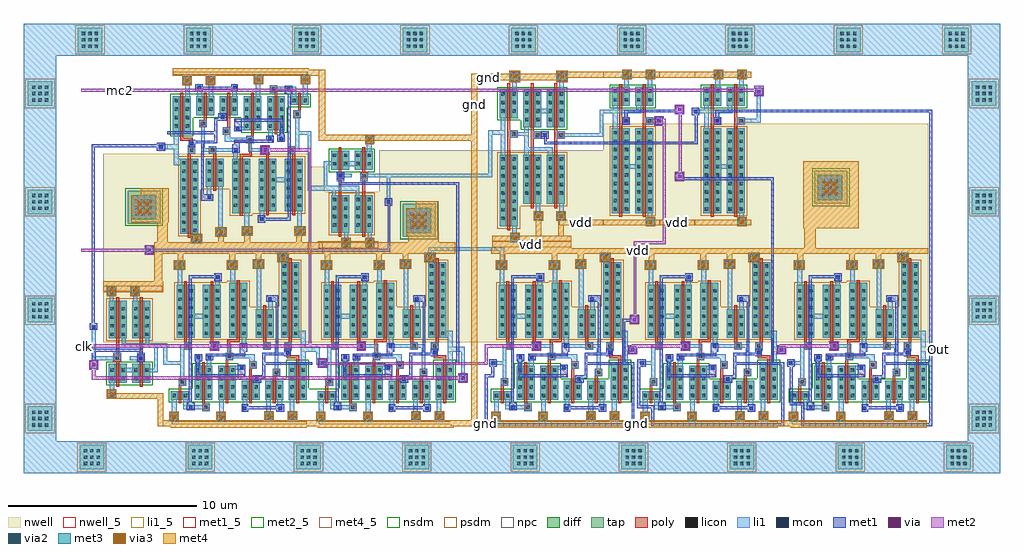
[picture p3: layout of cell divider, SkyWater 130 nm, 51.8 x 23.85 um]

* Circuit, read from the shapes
.subckt divider Out clk gnd mc2 vdd
XM1 prescaler_3/nand_3/z1 prescaler_3/nand_3/A gnd VSUBS sky130_fd_pr__nfet_01v8 w=1 l=0.15
XM2 prescaler_3/tspc_0/D prescaler_3/tspc_1/Q prescaler_3/nand_3/z1 VSUBS sky130_fd_pr__nfet_01v8 w=1 l=0.15
XM3 prescaler_3/tspc_0/Z2 prescaler_3/tspc_0/D gnd VSUBS sky130_fd_pr__nfet_01v8 w=0.45 l=0.15
XM4 gnd n1 prescaler_3/nand_3/A VSUBS sky130_fd_pr__nfet_01v8 w=2 l=0.15
XM5 prescaler_3/tspc_0/Z3 prescaler_3/tspc_0/Z2 prescaler_3/tspc_0/Z4 VSUBS sky130_fd_pr__nfet_01v8 w=1.8 l=0.15
XM6 gnd prescaler_3/tspc_2/Z3 n2 VSUBS sky130_fd_pr__nfet_01v8 w=1 l=0.15
XM7 prescaler_3/tspc_0/Z4 clk gnd VSUBS sky130_fd_pr__nfet_01v8 w=1.8 l=0.15
XM8 n2 clk n1 VSUBS sky130_fd_pr__nfet_01v8 w=1 l=0.15
XM9 n3 clk n4 VSUBS sky130_fd_pr__nfet_01v8 w=1 l=0.15
XM10 gnd clk prescaler_3/tspc_2/Z4 VSUBS sky130_fd_pr__nfet_01v8 w=1.8 l=0.15
XM11 n4 prescaler_3/tspc_0/Z3 gnd VSUBS sky130_fd_pr__nfet_01v8 w=1 l=0.15
XM12 prescaler_3/tspc_2/Z4 prescaler_3/tspc_2/Z2 prescaler_3/tspc_2/Z3 VSUBS sky130_fd_pr__nfet_01v8 w=1.8 l=0.15
XM13 prescaler_3/Out n3 gnd VSUBS sky130_fd_pr__nfet_01v8 w=2 l=0.15
XM14 gnd prescaler_3/tspc_2/D prescaler_3/tspc_2/Z2 VSUBS sky130_fd_pr__nfet_01v8 w=0.45 l=0.15
XM15 prescaler_3/tspc_1/Z2 prescaler_3/Out gnd VSUBS sky130_fd_pr__nfet_01v8 w=0.45 l=0.15
XM16 prescaler_3/nand_4/z1 n5 prescaler_3/tspc_2/D VSUBS sky130_fd_pr__nfet_01v8 w=1 l=0.15
XM17 prescaler_3/tspc_1/Z3 prescaler_3/tspc_1/Z2 prescaler_3/tspc_1/Z4 VSUBS sky130_fd_pr__nfet_01v8 w=1.8 l=0.15
XM18 gnd and_4/OUT prescaler_3/nand_4/z1 VSUBS sky130_fd_pr__nfet_01v8 w=1 l=0.15
XM19 prescaler_3/tspc_1/Z4 clk gnd VSUBS sky130_fd_pr__nfet_01v8 w=1.8 l=0.15
XM20 n5 clk n6 VSUBS sky130_fd_pr__nfet_01v8 w=1 l=0.15
XM21 n6 prescaler_3/tspc_1/Z3 gnd VSUBS sky130_fd_pr__nfet_01v8 w=1 l=0.15
XM22 prescaler_3/tspc_1/Q n5 gnd VSUBS sky130_fd_pr__nfet_01v8 w=2 l=0.15
XM23 tspc_2/Z2 nor_5/A gnd VSUBS sky130_fd_pr__nfet_01v8 w=0.45 l=0.15
XM24 gnd and_4/out1 and_4/OUT VSUBS sky130_fd_pr__nfet_01v8 w=1.5 l=0.15
XM25 tspc_2/Z3 tspc_2/Z2 tspc_2/Z4 VSUBS sky130_fd_pr__nfet_01v8 w=1.8 l=0.15
XM26 and_4/Z1 and_4/B and_4/out1 VSUBS sky130_fd_pr__nfet_01v8 w=2 l=0.15
XM27 tspc_2/Z4 prescaler_3/Out gnd VSUBS sky130_fd_pr__nfet_01v8 w=1.8 l=0.15
XM28 gnd and_4/A and_4/Z1 VSUBS sky130_fd_pr__nfet_01v8 w=2 l=0.15
XM29 nor_5/A prescaler_3/Out n7 VSUBS sky130_fd_pr__nfet_01v8 w=1 l=0.15
XM30 n7 tspc_2/Z3 gnd VSUBS sky130_fd_pr__nfet_01v8 w=1 l=0.15
XM31 tspc_2/Q nor_5/A gnd VSUBS sky130_fd_pr__nfet_01v8 w=2 l=0.15
XM32 gnd nor_5/B and_4/A VSUBS sky130_fd_pr__nfet_01v8 w=1 l=0.15
XM33 gnd nor_5/A and_4/A VSUBS sky130_fd_pr__nfet_01v8 w=1 l=0.15
XM34 tspc_1/Z2 nor_5/B gnd VSUBS sky130_fd_pr__nfet_01v8 w=0.45 l=0.15
XM35 tspc_1/Z3 tspc_1/Z2 tspc_1/Z4 VSUBS sky130_fd_pr__nfet_01v8 w=1.8 l=0.15
XM36 tspc_1/Z4 tspc_2/Q gnd VSUBS sky130_fd_pr__nfet_01v8 w=1.8 l=0.15
XM37 gnd nor_6/B and_4/B VSUBS sky130_fd_pr__nfet_01v8 w=1 l=0.15
XM38 nor_5/B tspc_2/Q n8 VSUBS sky130_fd_pr__nfet_01v8 w=1 l=0.15
XM39 gnd mc2 and_4/B VSUBS sky130_fd_pr__nfet_01v8 w=1 l=0.15
XM40 n8 tspc_1/Z3 gnd VSUBS sky130_fd_pr__nfet_01v8 w=1 l=0.15
XM41 tspc_1/Q nor_5/B gnd VSUBS sky130_fd_pr__nfet_01v8 w=2 l=0.15
XM42 tspc_0/Z2 nor_6/B gnd VSUBS sky130_fd_pr__nfet_01v8 w=0.45 l=0.15
XM43 tspc_0/Z3 tspc_0/Z2 tspc_0/Z4 VSUBS sky130_fd_pr__nfet_01v8 w=1.8 l=0.15
XM44 tspc_0/Z4 tspc_1/Q gnd VSUBS sky130_fd_pr__nfet_01v8 w=1.8 l=0.15
XM45 nor_6/B tspc_1/Q n9 VSUBS sky130_fd_pr__nfet_01v8 w=1 l=0.15
XM46 n9 tspc_0/Z3 gnd VSUBS sky130_fd_pr__nfet_01v8 w=1 l=0.15
XM47 Out nor_6/B gnd VSUBS sky130_fd_pr__nfet_01v8 w=2 l=0.15
XM48 prescaler_3/tspc_0/D prescaler_3/nand_3/A vdd vdd sky130_fd_pr__pfet_01v8 w=2 l=0.15
XM49 prescaler_3/tspc_0/D prescaler_3/tspc_1/Q vdd vdd sky130_fd_pr__pfet_01v8 w=2 l=0.15
XM50 prescaler_3/tspc_0/Z1 prescaler_3/tspc_0/D vdd vdd sky130_fd_pr__pfet_01v8 w=2.8 l=0.15
XM51 vdd n1 prescaler_3/nand_3/A vdd sky130_fd_pr__pfet_01v8 w=4 l=0.15
XM52 prescaler_3/tspc_0/Z2 clk prescaler_3/tspc_0/Z1 vdd sky130_fd_pr__pfet_01v8 w=2.8 l=0.15
XM53 vdd prescaler_3/tspc_2/Z3 n1 vdd sky130_fd_pr__pfet_01v8 w=1.5 l=0.15
XM54 prescaler_3/tspc_0/Z3 clk vdd vdd sky130_fd_pr__pfet_01v8 w=2.9 l=0.15
XM55 vdd clk prescaler_3/tspc_2/Z3 vdd sky130_fd_pr__pfet_01v8 w=2.9 l=0.15
XM56 n3 prescaler_3/tspc_0/Z3 vdd vdd sky130_fd_pr__pfet_01v8 w=1.5 l=0.15
XM57 prescaler_3/tspc_2/Z1 clk prescaler_3/tspc_2/Z2 vdd sky130_fd_pr__pfet_01v8 w=2.8 l=0.15
XM58 prescaler_3/Out n3 vdd vdd sky130_fd_pr__pfet_01v8 w=4 l=0.15
XM59 vdd prescaler_3/tspc_2/D prescaler_3/tspc_2/Z1 vdd sky130_fd_pr__pfet_01v8 w=2.8 l=0.15
XM60 prescaler_3/tspc_1/Z1 prescaler_3/Out vdd vdd sky130_fd_pr__pfet_01v8 w=2.8 l=0.15
XM61 vdd n5 prescaler_3/tspc_2/D vdd sky130_fd_pr__pfet_01v8 w=2 l=0.15
XM62 prescaler_3/tspc_1/Z2 clk prescaler_3/tspc_1/Z1 vdd sky130_fd_pr__pfet_01v8 w=2.8 l=0.15
XM63 vdd and_4/OUT prescaler_3/tspc_2/D vdd sky130_fd_pr__pfet_01v8 w=2 l=0.15
XM64 prescaler_3/tspc_1/Z3 clk vdd vdd sky130_fd_pr__pfet_01v8 w=2.9 l=0.15
XM65 n5 prescaler_3/tspc_1/Z3 vdd vdd sky130_fd_pr__pfet_01v8 w=1.5 l=0.15
XM66 prescaler_3/tspc_1/Q n5 vdd vdd sky130_fd_pr__pfet_01v8 w=4 l=0.15
XM67 tspc_2/Z1 nor_5/A vdd vdd sky130_fd_pr__pfet_01v8 w=2.8 l=0.15
XM68 vdd and_4/out1 and_4/OUT vdd sky130_fd_pr__pfet_01v8 w=3.8 l=0.15
XM69 vdd and_4/B and_4/out1 vdd sky130_fd_pr__pfet_01v8 w=2.6 l=0.15
XM70 tspc_2/Z2 prescaler_3/Out tspc_2/Z1 vdd sky130_fd_pr__pfet_01v8 w=2.8 l=0.15
XM71 vdd and_4/A and_4/out1 vdd sky130_fd_pr__pfet_01v8 w=2.6 l=0.15
XM72 tspc_2/Z3 prescaler_3/Out vdd vdd sky130_fd_pr__pfet_01v8 w=2.9 l=0.15
XM73 nor_5/A tspc_2/Z3 vdd vdd sky130_fd_pr__pfet_01v8 w=1.5 l=0.15
XM74 tspc_2/Q nor_5/A vdd vdd sky130_fd_pr__pfet_01v8 w=4 l=0.15
XM75 nor_5/Z1 nor_5/B and_4/A vdd sky130_fd_pr__pfet_01v8 w=4.5 l=0.15
XM76 vdd nor_5/A nor_5/Z1 vdd sky130_fd_pr__pfet_01v8 w=4.5 l=0.15
XM77 tspc_1/Z1 nor_5/B vdd vdd sky130_fd_pr__pfet_01v8 w=2.8 l=0.15
XM78 tspc_1/Z2 tspc_2/Q tspc_1/Z1 vdd sky130_fd_pr__pfet_01v8 w=2.8 l=0.15
XM79 tspc_1/Z3 tspc_2/Q vdd vdd sky130_fd_pr__pfet_01v8 w=2.9 l=0.15
XM80 nor_6/Z1 nor_6/B and_4/B vdd sky130_fd_pr__pfet_01v8 w=4.5 l=0.15
XM81 nor_5/B tspc_1/Z3 vdd vdd sky130_fd_pr__pfet_01v8 w=1.5 l=0.15
XM82 vdd mc2 nor_6/Z1 vdd sky130_fd_pr__pfet_01v8 w=4.5 l=0.15
XM83 tspc_1/Q nor_5/B vdd vdd sky130_fd_pr__pfet_01v8 w=4 l=0.15
XM84 tspc_0/Z1 nor_6/B vdd vdd sky130_fd_pr__pfet_01v8 w=2.8 l=0.15
XM85 tspc_0/Z2 tspc_1/Q tspc_0/Z1 vdd sky130_fd_pr__pfet_01v8 w=2.8 l=0.15
XM86 tspc_0/Z3 tspc_1/Q vdd vdd sky130_fd_pr__pfet_01v8 w=2.9 l=0.15
XM87 nor_6/B tspc_0/Z3 vdd vdd sky130_fd_pr__pfet_01v8 w=1.5 l=0.15
XM88 Out nor_6/B vdd vdd sky130_fd_pr__pfet_01v8 w=4 l=0.15
.ends

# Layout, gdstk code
from math import pi, radians
import gdstk
lib = gdstk.Library(unit=1e-6, precision=1e-09)
def R(c, l, rs):  # rectangles x0, y0, x1, y1
    for r in rs: c.add(gdstk.rectangle(r[:2], r[2:], *l))
def A(c, l, x, y, w, h, nx, ny, dx, dy):  # array of equal rectangles
    R(c, l, [(x+i*dx, y+j*dy, x+i*dx+w, y+j*dy+h) for i in range(nx) for j in range(ny)])
nwell_5 = (64, 5)
nwell = (64, 20)
diff = (65, 20)
tap = (65, 44)
poly = (66, 20)
licon = (66, 44)
li1_5 = (67, 5)
li1 = (67, 20)
mcon = (67, 44)
met1_5 = (68, 5)
met1 = (68, 20)
via = (68, 44)
met2_5 = (69, 5)
met2 = (69, 20)
via2 = (69, 44)
met3 = (70, 20)
via3 = (70, 44)
met4_5 = (71, 5)
met4 = (71, 20)
nsdm = (93, 44)
psdm = (94, 20)
npc = (95, 20)

tspc = lib.new_cell('tspc')
R(tspc, nwell, [(-0.7,-0.35,6.7,4.65)])
R(tspc, diff, [(-0.6,-3.4,0.35,-2.95), (0.65,-3.4,1.6,-1.6), (1.9,-3.4,2.85,-1.6), (3.15,-3.4,4.1,-2.4), (4.4,-3.4,5.35,-2.4), (5.65,-3.4,6.6,-1.4), (-0.3,-0.1,0.65,2.7), (1.1,-0.1,2.05,2.7), (2.5,-0.1,3.45,2.8), (3.9,-0.1,4.85,1.4), (5.25,-0.1,6.2,3.9)])
R(tspc, poly, [(1.05,-4,1.45,-3.6), (-0.2,-3.6,-0.05,-2.65), (1.05,-3.6,1.2,-1.4), (2.3,-3.6,2.45,-1.3), (3.55,-3.6,3.7,-1.75), (4.8,-3.6,4.95,-2.15), (6.05,-3.6,6.2,-1.2), (-0.2,-2.65,0.2,-2.25), (4.8,-2.15,5.2,-1.75), (3.55,-1.75,3.95,-1.35), (2.3,-1.3,2.7,-0.9), (5.55,-1.2,6.2,-1.05), (5.55,-1.05,5.7,-0.75), (2.4,-0.9,2.55,-0.35), (0.1,-0.75,0.5,-0.35), (1.5,-0.75,1.9,-0.35), (4.3,-0.75,4.7,-0.35), (5.4,-0.75,5.8,-0.35), (0.1,-0.35,0.25,2.9), (1.5,-0.35,1.65,2.9), (2.4,-0.35,3.05,-0.2), (4.3,-0.35,4.45,1.6), (5.65,-0.35,5.8,4.1), (2.9,-0.2,3.05,2.95)])
A(tspc, licon, 0.74, -3.26, 0.17, 0.17, 1, 4, 0, 0.45)
A(tspc, licon, 1.34, -3.26, 0.17, 0.17, 1, 4, 0, 0.45)
A(tspc, licon, 1.99, -3.26, 0.17, 0.17, 1, 4, 0, 0.45)
A(tspc, licon, 2.59, -3.26, 0.17, 0.17, 1, 4, 0, 0.45)
A(tspc, licon, 5.74, -3.26, 0.17, 0.17, 1, 4, 0, 0.45)
A(tspc, licon, 6.34, -3.26, 0.17, 0.17, 1, 4, 0, 0.45)
A(tspc, licon, -0.21, 0.04, 0.17, 0.17, 1, 6, 0, 0.45)
A(tspc, licon, 0.39, 0.04, 0.17, 0.17, 1, 6, 0, 0.45)
A(tspc, licon, 1.19, 0.04, 0.17, 0.17, 1, 6, 0, 0.45)
A(tspc, licon, 1.79, 0.04, 0.17, 0.17, 1, 6, 0, 0.45)
A(tspc, licon, 2.59, 0.04, 0.17, 0.17, 1, 6, 0, 0.45)
A(tspc, licon, 3.19, 0.04, 0.17, 0.17, 1, 6, 0, 0.45)
A(tspc, licon, 3.99, 0.04, 0.17, 0.17, 1, 3, 0, 0.45)
A(tspc, licon, 4.59, 0.04, 0.17, 0.17, 1, 3, 0, 0.45)
A(tspc, licon, 5.34, 0.04, 0.17, 0.17, 1, 8, 0, 0.45)
A(tspc, licon, 5.94, 0.04, 0.17, 0.17, 1, 8, 0, 0.45)
R(tspc, licon, [(1.165,-3.885,1.335,-3.715), (-0.51,-3.26,-0.34,-3.09), (0.09,-3.26,0.26,-3.09), (3.24,-3.26,3.41,-3.09), (3.84,-3.26,4.01,-3.09), (4.49,-3.26,4.66,-3.09), (5.09,-3.26,5.26,-3.09), (3.24,-2.81,3.41,-2.64), (3.84,-2.81,4.01,-2.64), (4.49,-2.81,4.66,-2.64), (5.09,-2.81,5.26,-2.64), (-0.085,-2.535,0.085,-2.365), (4.915,-2.035,5.085,-1.865), (3.665,-1.635,3.835,-1.465), (2.415,-1.185,2.585,-1.015), (0.215,-0.635,0.385,-0.465), (1.615,-0.635,1.785,-0.465), (4.415,-0.635,4.585,-0.465), (5.515,-0.635,5.685,-0.465), (5.34,3.615,5.51,3.785), (5.94,3.615,6.11,3.785)])
R(tspc, li1_5, [(0.05,-3.9,1.35,-3.7), (-0.1,-2.55,0.1,-0.45), (4.9,-2.05,5.1,-0.45), (6.3,-0.85,6.9,-0.6), (-0.1,-0.65,0.4,-0.45), (3.15,-0.65,5.1,-0.45), (0.65,0.9,1.1,1.15)])
R(tspc, li1, [(-0.55,-4.4,-0.3,-3.4), (1.95,-4.4,2.2,-3.4), (4.45,-4.4,4.7,-4.35), (5.7,-4.4,5.95,-4.35), (4.45,-4.35,4.75,-4), (5.7,-4.35,6,-4), (1.05,-4,1.45,-3.9), (4.45,-4,4.7,-3.4), (5.7,-4,5.95,-3.4), (3.2,-3.95,3.4,-3.75), (5.1,-3.95,5.3,-3.75), (0.05,-3.9,1.45,-3.7), (3.2,-3.75,3.45,-3.4), (5.05,-3.75,5.3,-3.4), (0.05,-3.7,0.3,-3.4), (1.05,-3.7,1.45,-3.6), (-0.6,-3.4,-0.25,-2.95), (0,-3.4,0.35,-2.95), (0.65,-3.4,1,-1.6), (1.25,-3.4,1.6,-1.6), (1.9,-3.4,2.25,-1.6), (2.5,-3.4,2.85,-1.8), (3.15,-3.4,3.5,-2.4), (3.75,-3.4,4.1,-2.4), (4.4,-3.4,4.75,-2.4), (5,-3.4,5.35,-2.4), (5.65,-3.4,6,-1.4), (6.25,-3.4,6.6,-1.4), (-0.2,-2.65,0.2,-2.25), (3.85,-2.4,4.05,-2.2), (-0.1,-2.25,0.1,-1.55), (4.8,-2.15,5.2,-1.75), (2.5,-1.8,3.25,-1.6), (3.55,-1.75,3.95,-1.35), (4.9,-1.75,5.1,-0.65), (0.7,-1.6,0.95,-1.25), (1.3,-1.6,1.55,-1.25), (-0.7,-1.55,0.1,-1.35), (6.3,-1.4,6.55,-0.85), (-0.1,-1.35,0.1,-0.75), (3.55,-1.35,3.85,-1.2), (2.3,-1.3,2.7,-1.2), (0.75,-1.25,0.95,-1.05), (1.35,-1.25,1.55,-1.05), (2.3,-1.2,3.85,-1), (2.3,-1,2.7,-0.9), (5.5,-1,5.7,-0.8), (2.4,-0.9,2.6,-0.65), (6.3,-0.85,6.9,-0.6), (5.5,-0.8,5.8,-0.75), (-0.1,-0.75,0.5,-0.45), (1.5,-0.75,1.9,-0.65), (4.3,-0.75,4.7,-0.65), (5.4,-0.75,5.8,-0.35), (1.5,-0.65,2.6,-0.45), (3.15,-0.65,5.1,-0.45), (6.3,-0.6,6.55,-0.1), (0.1,-0.45,0.5,-0.35), (1.5,-0.45,1.9,-0.35), (3.15,-0.45,3.4,-0.1), (4.3,-0.45,4.7,-0.35), (-0.3,-0.1,0.05,2.7), (0.3,-0.1,0.65,0.9), (1.1,-0.1,1.45,0.9), (1.7,-0.1,2.05,2.7), (2.5,-0.1,2.85,2.8), (3.1,-0.1,3.45,2.8), (3.9,-0.1,4.25,1.4), (4.5,-0.1,4.85,1.4), (5.25,-0.1,5.6,3.9), (5.85,-0.1,6.55,0.25), (5.85,0.25,6.2,3.9), (0.3,0.9,1.45,1.15), (0.3,1.15,0.65,2.7), (1.1,1.15,1.45,2.7), (3.95,1.4,4.2,3.65), (4.55,1.4,4.8,1.85), (4.55,1.85,4.75,2.05), (-0.25,2.7,0,3.6), (1.75,2.7,2,3.2), (2.55,2.8,2.8,3.6), (-0.25,3.6,-0.05,3.8), (2.55,3.6,2.75,3.8), (3.95,3.65,4.15,3.85), (5.25,3.9,5.5,4), (5.25,4,5.45,4.2)])
R(tspc, mcon, [(-0.535,-4.385,-0.365,-4.215), (1.965,-4.385,2.135,-4.215), (4.515,-4.335,4.685,-4.165), (5.765,-4.335,5.935,-4.165), (3.215,-3.935,3.385,-3.765), (5.115,-3.935,5.285,-3.765), (0.365,-3.885,0.535,-3.715), (3.865,-2.385,4.035,-2.215), (3.065,-1.785,3.235,-1.615), (0.765,-1.235,0.935,-1.065), (1.365,-1.235,1.535,-1.065), (5.515,-0.985,5.685,-0.815), (1.615,-0.635,1.785,-0.465), (3.165,-0.635,3.335,-0.465), (4.565,1.865,4.735,2.035), (1.815,3.015,1.985,3.185), (-0.235,3.615,-0.065,3.785), (2.565,3.615,2.735,3.785), (3.965,3.665,4.135,3.835), (5.265,4.015,5.435,4.185)])
R(tspc, met1_5, [(0.75,-2.2,3.3,-2.05), (1.3,-1.1,3.35,-0.95)])
R(tspc, met1, [(-0.65,-4.5,-0.25,-4.1), (1.85,-4.5,2.25,-4.1), (4.4,-4.45,4.8,-4.05), (5.65,-4.45,6.05,-4.05), (3.15,-4.05,3.5,-3.9), (5,-4.05,5.4,-3.9), (0.25,-3.95,0.65,-3.55), (3.15,-3.9,5.4,-3.75), (3.15,-3.75,3.5,-3.65), (5,-3.75,5.4,-3.65), (0.35,-3.55,0.5,3.05), (3.75,-2.5,4.2,-2.25), (3.75,-2.25,4.4,-2.1), (0.75,-2.2,3.35,-2.05), (4.25,-2.1,4.4,-1.55), (0.75,-2.05,0.9,-1.35), (2.95,-2.05,3.35,-1.55), (4.25,-1.55,6.9,-1.4), (4.25,-1.4,4.4,-1.05), (0.65,-1.35,1.05,-1), (1.25,-1.3,1.65,-1.1), (1.25,-1.1,3.35,-0.95), (5.4,-1.1,5.75,-1.05), (4.25,-1.05,5.75,-0.9), (3.05,-0.95,3.35,-0.85), (4.95,-0.9,5.1,1.8), (5.4,-0.9,5.75,-0.7), (3.05,-0.85,3.45,-0.4), (1.5,-0.75,1.9,-0.35), (4.45,1.8,5.1,2.15), (1.7,2.9,2.1,3.05), (0.35,3.05,2.1,3.2), (1.7,3.2,2.1,3.3), (-0.35,3.55,0.05,3.9), (2.45,3.55,2.85,3.9), (3.85,3.6,4.25,3.95), (5.15,3.95,5.55,4.3)])
R(tspc, via, [(-0.525,-4.375,-0.375,-4.225), (1.975,-4.375,2.125,-4.225), (4.525,-4.325,4.675,-4.175), (5.775,-4.325,5.925,-4.175), (1.625,-0.625,1.775,-0.475), (-0.225,3.675,-0.075,3.825), (2.575,3.675,2.725,3.825), (3.975,3.725,4.125,3.875), (5.275,4.075,5.425,4.225)])
R(tspc, met2, [(-0.65,-4.5,-0.25,-4.1), (1.85,-4.5,2.25,-4.1), (4.4,-4.45,4.8,-4.05), (5.65,-4.45,6.05,-4.05), (1.45,-0.8,1.95,-0.65), (-0.7,-0.65,1.95,-0.45), (1.45,-0.45,1.95,-0.3), (-0.4,3.55,0.1,3.95), (2.4,3.55,2.9,3.95), (3.8,3.6,4.3,4), (5.1,3.95,5.6,4.35)])
R(tspc, via2, [(-0.55,-4.4,-0.35,-4.2), (1.95,-4.4,2.15,-4.2), (4.5,-4.35,4.7,-4.15), (5.75,-4.35,5.95,-4.15), (-0.25,3.675,-0.05,3.875), (2.55,3.675,2.75,3.875), (3.95,3.725,4.15,3.925), (5.25,4.075,5.45,4.275)])
R(tspc, met3, [(-0.7,-4.55,-0.2,-4.05), (1.8,-4.55,2.3,-4.05), (4.35,-4.5,4.85,-4), (5.6,-4.5,6.1,-4), (-0.45,3.55,0.15,4), (2.35,3.55,2.95,4), (3.75,3.6,4.35,4.05), (5.05,3.95,5.65,4.4)])
R(tspc, via3, [(-0.55,-4.4,-0.35,-4.2), (1.95,-4.4,2.15,-4.2), (4.5,-4.35,4.7,-4.15), (5.75,-4.35,5.95,-4.15), (-0.25,3.65,-0.05,3.85), (2.55,3.65,2.75,3.85), (3.95,3.7,4.15,3.9), (5.25,4.05,5.45,4.25)])
R(tspc, met4_5, [(-0.55,-4.7,6.6,-4.55)])
R(tspc, met4, [(-0.6,-4.9,6.6,-4.55), (-0.7,-4.55,6.6,-4.5), (-0.7,-4.5,-0.2,-4.05), (1.8,-4.5,2.3,-4.05), (4.35,-4.5,4.85,-4), (5.6,-4.5,6.1,-4), (-0.45,3.5,0.15,4), (2.35,3.5,2.95,4), (3.75,3.55,4.35,4.05), (5.05,3.9,5.65,4.35), (-0.25,4,0.05,4.35), (2.5,4,2.8,4.35), (3.9,4.05,4.2,4.35), (-0.7,4.35,6.7,4.65)])
R(tspc, nsdm, [(-0.725,-3.525,6.725,-2.825), (0.525,-2.825,6.725,-2.275), (0.525,-2.275,2.975,-1.475), (5.525,-2.275,6.725,-1.275)])
R(tspc, psdm, [(-0.425,-0.225,6.325,1.525), (-0.425,1.525,3.575,2.825), (5.125,1.525,6.325,4.025), (2.375,2.825,3.575,2.925)])
R(tspc, npc, [(1.065,-3.985,1.435,-3.615), (-0.185,-2.635,0.185,-2.265), (4.815,-2.135,5.185,-1.765), (3.565,-1.735,3.935,-1.365), (2.315,-1.285,2.685,-0.915), (0.115,-0.735,0.485,-0.365), (1.515,-0.735,1.885,-0.365), (4.315,-0.735,4.685,-0.365), (5.415,-0.735,5.785,-0.365)])
tspc.add(gdstk.Label('D', (0,-1.5), layer=67, texttype=5))
tspc.add(gdstk.Label('D', (0.15,-0.55), layer=67, texttype=5))
tspc.add(gdstk.Label('Z1', (0.875,1.025), layer=67, texttype=5))
tspc.add(gdstk.Label('Z3', (2.325,-1.025), layer=68, texttype=5))
tspc.add(gdstk.Label('Z3', (5,-1.25), layer=67, texttype=5))
tspc.add(gdstk.Label('Z4', (2.025,-2.125), layer=68, texttype=5))
tspc.add(gdstk.Label('Q', (6.6,-0.725), layer=67, texttype=5))
tspc.add(gdstk.Label('Z3', (4.125,-0.55), layer=67, texttype=5))
tspc.add(gdstk.Label('Z2', (0.7,-3.8), layer=67, texttype=5))
tspc.add(gdstk.Label('GND', (3.025,-4.625), layer=71, texttype=5))
tspc.add(gdstk.Label('vdd!', (2.69,3.36), layer=67, texttype=5))
tspc.add(gdstk.Label('gnd!', (2.02,-3.79), layer=67, texttype=5))

nand = lib.new_cell('nand')
R(nand, nwell_5, [(-0.4,2.6,2.75,2.9)])
R(nand, nwell, [(-0.4,-0.1,2.8,3.15)])
R(nand, diff, [(-0.1,-2.25,0.85,-1.25), (1.15,-2.25,2.1,-1.25), (-0.1,0.1,0.85,2.1), (1.15,0.1,2.1,2.1)])
R(nand, poly, [(0.3,-2.45,0.45,-1.15), (1.55,-2.45,1.7,-1.15), (0.15,-1.15,0.55,-0.75), (1.4,-1.15,1.8,-0.75), (0.3,-0.75,0.45,2.3), (1.55,-0.75,1.7,2.3)])
A(nand, licon, -0.01, 0.24, 0.17, 0.17, 1, 4, 0, 0.45)
A(nand, licon, 0.59, 0.24, 0.17, 0.17, 1, 4, 0, 0.45)
A(nand, licon, 1.24, 0.24, 0.17, 0.17, 1, 4, 0, 0.45)
A(nand, licon, 1.84, 0.24, 0.17, 0.17, 1, 4, 0, 0.45)
R(nand, licon, [(-0.01,-2.11,0.16,-1.94), (0.59,-2.11,0.76,-1.94), (1.24,-2.11,1.41,-1.94), (1.84,-2.11,2.01,-1.94), (-0.01,-1.66,0.16,-1.49), (0.59,-1.66,0.76,-1.49), (1.24,-1.66,1.41,-1.49), (1.84,-1.66,2.01,-1.49), (0.265,-1.035,0.435,-0.865), (1.515,-1.035,1.685,-0.865)])
R(nand, li1_5, [(0.55,-1.7,1.45,-1.45), (-0.25,-1.05,0.45,-0.85), (0.6,-0.4,2.5,-0.15)])
R(nand, li1, [(-0.05,-2.95,0.2,-2.25), (-0.1,-2.25,0.25,-1.25), (0.5,-2.25,0.85,-1.7), (1.15,-2.25,1.5,-1.7), (1.75,-2.25,2.1,-1.7), (0.5,-1.7,1.5,-1.45), (1.75,-1.7,2.5,-1.5), (1.75,-1.5,2.1,-1.25), (2.3,-1.5,2.5,-0.4), (0.5,-1.45,0.85,-1.25), (1.15,-1.45,1.5,-1.25), (-0.25,-1.05,0.55,-0.85), (1,-1.05,1.8,-0.85), (0.15,-0.85,0.55,-0.65), (1.4,-0.85,1.8,-0.65), (0.6,-0.4,3,-0.15), (0.6,-0.15,0.8,0.1), (1.85,-0.15,2.05,0.1), (-0.1,0.1,0.25,2.1), (0.5,0.1,0.85,2.1), (1.15,0.1,1.5,2.1), (1.75,0.1,2.1,2.1), (-0.05,2.1,0.15,2.7), (1.2,2.1,1.4,2.7)])
R(nand, mcon, [(-0.035,-2.935,0.135,-2.765), (1.515,-1.035,1.685,-0.865), (-0.035,2.515,0.135,2.685), (1.215,2.515,1.385,2.685)])
R(nand, met1, [(-0.15,-3,0.25,-2.65), (1.4,-1.15,1.8,-0.75), (1.55,-0.75,1.7,-0.6), (-0.25,-0.6,1.7,-0.45), (-0.15,2.45,0.25,2.8), (1.1,2.45,1.5,2.8)])
R(nand, via, [(-0.025,-2.925,0.125,-2.775), (-0.025,2.525,0.125,2.675), (1.225,2.525,1.375,2.675)])
R(nand, met2, [(-0.15,-3.05,0.25,-2.65), (-0.15,2.4,0.25,2.8), (1.1,2.4,1.5,2.8)])
R(nand, via2, [(-0.05,-2.95,0.15,-2.75), (-0.05,2.5,0.15,2.7), (1.2,2.5,1.4,2.7)])
R(nand, met3, [(-0.2,-3.1,0.3,-2.6), (-0.2,2.35,0.3,2.85), (1.05,2.35,1.55,2.85)])
R(nand, via3, [(-0.05,-2.95,0.15,-2.75), (-0.025,2.525,0.175,2.725), (1.225,2.525,1.425,2.725)])
R(nand, met4_5, [(-0.2,-3.1,2.75,-2.8)])
R(nand, met4, [(-0.2,-3.1,2.75,-2.8), (-0.2,-2.8,0.3,-2.6), (-0.2,2.35,0.3,2.55), (1.05,2.35,1.55,2.55), (-0.4,2.55,2.8,3.15)])
R(nand, nsdm, [(-0.225,-2.375,2.225,-1.125)])
R(nand, psdm, [(-0.225,-0.025,2.225,2.225)])
R(nand, npc, [(0.165,-1.135,0.535,-0.765), (1.415,-1.135,1.785,-0.765)])
nand.add(gdstk.Label('OUT', (1.55,-0.275), layer=67, texttype=5))
nand.add(gdstk.Label('A', (0.1,-0.95), layer=67, texttype=5))
nand.add(gdstk.Label('VDD', (1.175,2.75), layer=64, texttype=5))
nand.add(gdstk.Label('GND', (1.275,-2.95), layer=71, texttype=5))
nand.add(gdstk.Label('z1', (1,-1.575), layer=67, texttype=5))
nand.add(gdstk.Label('vdd!', (1.3,2.22), layer=67, texttype=5))
nand.add(gdstk.Label('gnd!', (0.06,-2.51), layer=67, texttype=5))

prescaler = lib.new_cell('prescaler')
R(prescaler, nwell, [(2.08,2.6,3.53,2.65), (9.95,2.6,10.35,7.43), (1.95,2.65,3.53,2.71), (1.95,2.71,2.71,4.59), (1.95,4.59,2.77,5.27), (2.01,5.27,2.77,7.21), (9.95,7.43,10.73,7.6), (9.97,7.6,10.73,10.36), (9.65,10.36,10.82,10.61), (9.65,10.61,10.81,11.92)])
R(prescaler, li1, [(18.05,0.6,18.25,2.1), (2.25,1.4,2.55,1.6), (10.35,1.4,10.55,2.1), (10.6,1.4,10.8,1.6), (2.25,1.6,2.45,2.55), (-1.55,1.65,-0.8,1.85), (-1.55,1.85,-1.35,3.5), (10.15,2.1,10.55,2.35), (17.95,2.1,18.25,2.35), (14.1,9.95,14.3,11.35), (9.9,10.65,10.25,10.9), (9.9,10.9,10.1,13.8), (13.5,11.35,14.3,11.55), (2,12.85,2.45,13.1)])
R(prescaler, mcon, [(18.065,0.615,18.235,0.785), (10.615,1.415,10.785,1.585), (-1.535,3.315,-1.365,3.485), (14.115,9.965,14.285,10.135), (2.04,12.89,2.21,13.06)])
R(prescaler, met1_5, [(1.7,7.4,14.3,7.55), (14.15,7.4,14.3,10.15)])
R(prescaler, met1, [(17.95,0.5,18.35,0.9), (-1.65,1.2,-1.25,1.6), (10.5,1.3,10.9,1.7), (17.8,1.4,17.95,10.95), (-1.55,1.6,-1.35,2.1), (-1.55,2.1,-0.8,2.25), (-1.65,3.25,-1.25,3.6), (-1.55,3.6,-1.4,12.95), (1.3,7.3,1.7,7.4), (1.3,7.4,14.3,7.55), (1.3,7.55,1.7,7.7), (14.15,7.55,14.3,9.85), (1.4,7.7,1.6,7.75), (14,9.85,14.4,10.25), (13.5,10.95,17.95,11.1), (1.9,12.75,2.35,12.95), (-1.55,12.95,2.35,13.1), (1.9,13.1,2.35,13.2)])
R(prescaler, via, [(18.075,0.625,18.225,0.775), (-1.525,1.325,-1.375,1.475), (10.625,1.425,10.775,1.575), (1.425,7.425,1.575,7.575)])
R(prescaler, met2_5, [(10.55,1.4,19.3,1.55), (-2.1,2.3,2.55,2.5), (-2.1,7.4,1.7,7.55)])
R(prescaler, met2, [(17.9,0.45,18.4,0.6), (-1.55,0.6,18.4,0.8), (-1.55,0.8,-1.35,1.15), (17.9,0.8,18.4,0.95), (-1.7,1.15,-1.2,1.65), (10.45,1.25,10.95,1.4), (10.45,1.4,19.3,1.55), (10.45,1.55,10.95,1.75), (-2.1,2.3,2.55,2.5), (4.85,2.3,10.35,2.5), (9.95,2.5,10.1,12.9), (1.25,7.25,1.75,7.4), (-2.1,7.4,1.75,7.55), (1.25,7.55,1.75,7.75)])
R(prescaler, met4_5, [(1.95,-1.85,2.25,-0.4), (17.5,-1.85,18.6,-1.55), (18.6,-1.85,18.9,13.3), (2.2,-0.4,2.25,-0.1), (9.9,7.3,10.7,7.9), (13.45,13.3,18.9,13.6), (10.5,13.6,10.85,17.05)])
R(prescaler, met4, [(1.95,-1.85,2.7,-1.6), (9.85,-1.85,10.55,-1.55), (17.5,-1.85,18.9,-1.55), (1.95,-1.6,2.65,-1.55), (1.95,-1.55,2.25,-0.1), (18.6,-1.55,18.9,13.3), (1.75,5.3,2.2,7.3), (1.75,7.3,2.85,7.9), (9.9,7.3,10.75,7.9), (13.65,7.6,17.75,7.9), (10.5,13.3,10.85,16.75), (13,13.3,18.9,13.6), (9.65,16.75,10.85,17.05)])
R(prescaler, nsdm, [(9.975,-0.575,10.325,0.125)])
prescaler.add(gdstk.Reference(tspc, (3.25,2.95)))
prescaler.add(gdstk.Reference(tspc, (11.05,2.95)))
prescaler.add(gdstk.Reference(tspc, (9.35,12.25), rotation=pi))
prescaler.add(gdstk.Reference(nand, (-0.55,2.7)))
prescaler.add(gdstk.Reference(nand, (13.25,10.5), rotation=pi))
prescaler.add(gdstk.Label('mc1', (-0.2,7.475), layer=69, texttype=5))
prescaler.add(gdstk.Label('mc1', (8,7.475), layer=68, texttype=5))
prescaler.add(gdstk.Label('mc1', (14.225,8.775), layer=68, texttype=5))
prescaler.add(gdstk.Label('clk', (0.225,2.4), layer=69, texttype=5))
prescaler.add(gdstk.Label('Out', (14.925,1.475), layer=69, texttype=5))
prescaler.add(gdstk.Label('GND', (10.675,15.325), layer=71, texttype=5))
prescaler.add(gdstk.Label('GND', (16.175,13.45), layer=71, texttype=5))
prescaler.add(gdstk.Label('GND', (18.75,5.725), layer=71, texttype=5))
prescaler.add(gdstk.Label('GND', (18.05,-1.7), layer=71, texttype=5))
prescaler.add(gdstk.Label('GND', (2.1,-1.125), layer=71, texttype=5))
prescaler.add(gdstk.Label('GND', (2.225,-0.25), layer=71, texttype=5))
prescaler.add(gdstk.Label('VDD', (10.3,7.6), layer=71, texttype=5))

and_ = lib.new_cell('and')
R(and_, nwell_5, [(-0.85,4.4,3.35,4.7)])
R(and_, nwell, [(-0.85,-0.15,3.35,4.75)])
R(and_, diff, [(-0.5,-3.35,0.45,-1.35), (0.75,-3.35,1.7,-1.35), (2,-3.35,2.95,-1.85), (-0.5,0.1,0.45,2.7), (0.75,0.1,1.7,2.7), (2,0.1,2.95,3.9)])
R(and_, poly, [(-0.1,-3.7,0.05,-1.15), (1.15,-3.7,1.3,-1.15), (2.4,-3.7,2.55,-1.2), (2,-1.2,2.55,-0.8), (-0.5,-1.15,0.05,-0.75), (0.75,-1.15,1.3,-0.75), (2.4,-0.8,2.55,4.1), (-0.1,-0.75,0.05,2.95), (1.15,-0.75,1.3,2.95)])
A(and_, licon, -0.41, -3.21, 0.17, 0.17, 1, 4, 0, 0.45)
A(and_, licon, 0.19, -3.21, 0.17, 0.17, 1, 4, 0, 0.45)
A(and_, licon, 0.84, -3.21, 0.17, 0.17, 1, 4, 0, 0.45)
A(and_, licon, 1.44, -3.21, 0.17, 0.17, 1, 4, 0, 0.45)
A(and_, licon, 2.09, -3.21, 0.17, 0.17, 1, 3, 0, 0.45)
A(and_, licon, 2.69, -3.21, 0.17, 0.17, 1, 3, 0, 0.45)
A(and_, licon, -0.41, 0.24, 0.17, 0.17, 1, 5, 0, 0.45)
A(and_, licon, 0.19, 0.24, 0.17, 0.17, 1, 5, 0, 0.45)
A(and_, licon, 0.84, 0.24, 0.17, 0.17, 1, 5, 0, 0.45)
A(and_, licon, 1.44, 0.24, 0.17, 0.17, 1, 5, 0, 0.45)
A(and_, licon, 2.09, 0.24, 0.17, 0.17, 1, 8, 0, 0.45)
A(and_, licon, 2.69, 0.24, 0.17, 0.17, 1, 8, 0, 0.45)
R(and_, licon, [(2.115,-1.085,2.285,-0.915), (-0.385,-1.035,-0.215,-0.865), (0.865,-1.035,1.035,-0.865)])
R(and_, li1_5, [(0.15,-2.35,1.05,-2.1), (2.65,-1.2,3.35,-0.95), (1.4,-1.1,2.3,-0.9), (-0.85,-1.05,-0.2,-0.85), (0.45,-1.05,1.05,-0.85)])
R(and_, li1, [(-0.45,-4.15,-0.2,-3.35), (2,-4.15,2.25,-3.75), (2.05,-3.75,2.3,-3.35), (-0.5,-3.35,-0.15,-1.35), (0.1,-3.35,0.45,-2.35), (0.75,-3.35,1.1,-2.35), (1.35,-3.35,1.7,-1.35), (2,-3.35,2.35,-1.85), (2.6,-3.35,2.95,-1.85), (0.1,-2.35,1.1,-2.1), (0.1,-2.1,0.45,-1.35), (0.75,-2.1,1.1,-1.35), (2.65,-1.85,2.9,-1.2), (1.4,-1.35,1.65,-1.1), (2,-1.2,2.4,-1.1), (2.65,-1.2,3.35,-0.95), (-0.5,-1.15,-0.1,-1.05), (0.75,-1.15,1.15,-1.05), (1.4,-1.1,2.4,-0.9), (-0.85,-1.05,-0.1,-0.85), (0.45,-1.05,1.15,-0.85), (2.65,-0.95,2.9,0.1), (1.4,-0.9,1.65,-0.3), (2,-0.9,2.4,-0.8), (-0.5,-0.85,-0.1,-0.75), (0.75,-0.85,1.15,-0.75), (0.15,-0.3,1.65,-0.1), (0.15,-0.1,0.4,0.1), (1.4,-0.1,1.65,0.1), (-0.5,0.1,-0.15,2.7), (0.1,0.1,0.45,2.7), (0.75,0.1,1.1,2.7), (1.35,0.1,1.7,2.7), (2,0.1,2.35,3.9), (2.6,0.1,2.95,3.9), (-0.45,2.7,-0.2,3.45), (0.8,2.7,1.05,3.1), (0.75,3.1,1.05,3.45), (2.05,3.9,2.3,4.25), (2,4.25,2.3,4.6)])
R(and_, mcon, [(-0.435,-4.135,-0.265,-3.965), (2.065,-4.135,2.235,-3.965), (0.465,-1.035,0.635,-0.865), (-0.385,3.265,-0.215,3.435), (0.815,3.265,0.985,3.435), (2.065,4.415,2.235,4.585)])
R(and_, met1_5, [(0.45,-1.05,0.6,-0.6), (-0.85,-0.6,0.6,-0.45)])
R(and_, met1, [(-0.55,-4.25,-0.15,-3.85), (1.95,-4.25,2.35,-3.85), (0.35,-1.15,0.75,-0.75), (0.45,-0.75,0.6,-0.6), (-0.85,-0.6,0.6,-0.45), (-0.5,3.15,-0.1,3.55), (0.7,3.15,1.1,3.55), (1.95,4.3,2.35,4.7)])
R(and_, via, [(-0.425,-4.125,-0.275,-3.975), (2.075,-4.125,2.225,-3.975), (-0.375,3.275,-0.225,3.425), (0.825,3.275,0.975,3.425), (2.075,4.425,2.225,4.575)])
R(and_, met2, [(-0.6,-4.3,-0.1,-3.8), (1.9,-4.3,2.4,-3.8), (-0.55,3.1,-0.05,3.6), (0.65,3.1,1.15,3.6), (1.9,4.25,2.4,4.75)])
R(and_, via2, [(-0.45,-4.15,-0.25,-3.95), (2.05,-4.15,2.25,-3.95), (-0.4,3.25,-0.2,3.45), (0.8,3.25,1,3.45), (2.05,4.4,2.25,4.6)])
R(and_, met3, [(-0.65,-4.35,-0.05,-3.75), (1.85,-4.35,2.45,-3.75), (-0.55,3.1,-0.05,3.6), (0.65,3.1,1.15,3.6), (1.9,4.25,2.4,4.75)])
R(and_, via3, [(-0.45,-4.15,-0.25,-3.95), (2.05,-4.15,2.25,-3.95), (-0.4,3.25,-0.2,3.45), (0.8,3.25,1,3.45), (2.05,4.4,2.25,4.6)])
R(and_, met4_5, [(-0.55,-4.2,2.95,-3.85)])
R(and_, met4, [(-0.65,-4.35,-0.05,-4.2), (1.85,-4.35,2.45,-4.2), (-0.65,-4.2,2.95,-3.85), (-0.65,-3.85,-0.05,-3.75), (1.85,-3.85,2.45,-3.75), (-0.55,3.1,-0.05,3.6), (0.65,3.1,1.15,3.6), (-0.45,3.6,-0.15,4.4), (0.75,3.6,1.05,4.4), (1.9,4.25,2.4,4.4), (-0.85,4.4,3.35,4.7), (1.9,4.7,2.4,4.75)])
R(and_, nsdm, [(-0.625,-3.475,3.075,-1.725), (-0.625,-1.725,1.825,-1.225)])
R(and_, psdm, [(-0.625,-0.025,3.075,2.825), (1.875,2.825,3.075,4.025)])
R(and_, npc, [(2.015,-1.185,2.385,-0.815), (-0.485,-1.135,-0.115,-0.765), (0.765,-1.135,1.135,-0.765)])
and_.add(gdstk.Label('GND', (1.2,-4.025), layer=71, texttype=5))
and_.add(gdstk.Label('VDD', (1.25,4.55), layer=64, texttype=5))
and_.add(gdstk.Label('OUT', (3,-1.075), layer=67, texttype=5))
and_.add(gdstk.Label('A', (-0.525,-0.95), layer=67, texttype=5))
and_.add(gdstk.Label('B', (-0.125,-0.525), layer=68, texttype=5))
and_.add(gdstk.Label('B', (0.525,-0.825), layer=68, texttype=5))
and_.add(gdstk.Label('B', (0.75,-0.95), layer=67, texttype=5))
and_.add(gdstk.Label('Z1', (0.6,-2.225), layer=67, texttype=5))
and_.add(gdstk.Label('out1', (1.85,-1), layer=67, texttype=5))
and_.add(gdstk.Label('gnd!', (2.19,-3.63), layer=67, texttype=5))
and_.add(gdstk.Label('vdd!', (2.14,4.05), layer=67, texttype=5))

nor = lib.new_cell('nor')
R(nor, nwell_5, [(-0.55,4.95,2.45,5.25)])
R(nor, nwell, [(-0.55,-0.15,2.45,6.1)])
R(nor, diff, [(-0.2,-2.1,0.75,-1.1), (1.05,-2.1,2,-1.1), (-0.2,0.1,0.75,4.6), (1.05,0.1,2,4.6)])
R(nor, poly, [(0.2,-2.25,0.35,-0.5), (1.45,-2.25,1.6,-0.5), (-0.2,-0.5,0.35,-0.1), (1.05,-0.5,1.6,-0.1), (0.2,-0.1,0.35,4.8), (1.45,-0.1,1.6,4.8)])
A(nor, licon, -0.11, 0.24, 0.17, 0.17, 1, 10, 0, 0.45)
A(nor, licon, 0.49, 0.24, 0.17, 0.17, 1, 10, 0, 0.45)
A(nor, licon, 1.14, 0.24, 0.17, 0.17, 1, 10, 0, 0.45)
A(nor, licon, 1.74, 0.24, 0.17, 0.17, 1, 10, 0, 0.45)
R(nor, licon, [(-0.11,-1.96,0.06,-1.79), (0.49,-1.96,0.66,-1.79), (1.14,-1.96,1.31,-1.79), (1.74,-1.96,1.91,-1.79), (-0.11,-1.51,0.06,-1.34), (0.49,-1.51,0.66,-1.34), (1.14,-1.51,1.31,-1.34), (1.74,-1.51,1.91,-1.34), (-0.085,-0.385,0.085,-0.215), (1.165,-0.385,1.335,-0.215)])
R(nor, li1_5, [(1.7,-0.9,2.45,-0.7), (-0.55,-0.4,0.1,-0.2), (0.75,2,1.05,2.25)])
R(nor, li1, [(-0.15,-2.85,0.1,-2.1), (1.1,-2.85,1.35,-2.1), (-0.2,-2.1,0.15,-1.1), (0.4,-2.1,0.75,-1.1), (1.05,-2.1,1.4,-1.1), (1.65,-2.1,2,-1.1), (0.45,-1.1,0.7,-0.9), (1.7,-1.1,1.95,-0.9), (0.45,-0.9,2.45,-0.7), (1.7,-0.7,1.95,0.1), (-0.2,-0.5,0.2,-0.4), (1.05,-0.5,1.45,-0.1), (-0.55,-0.4,0.2,-0.2), (-0.2,-0.2,0.2,-0.1), (-0.2,0.1,0.15,4.6), (0.4,0.1,0.75,2), (1.05,0.1,1.4,2), (1.65,0.1,2,4.6), (0.4,2,1.4,2.25), (0.4,2.25,0.75,4.6), (1.05,2.25,1.4,4.6), (-0.15,4.6,0.1,5.15)])
R(nor, mcon, [(-0.135,-2.835,0.035,-2.665), (1.115,-2.835,1.285,-2.665), (1.165,-0.385,1.335,-0.215), (-0.135,4.965,0.035,5.135)])
R(nor, met1_5, [(-0.55,-0.9,0.1,-0.75)])
R(nor, met1, [(-0.25,-2.95,0.15,-2.55), (1,-2.95,1.4,-2.55), (-0.55,-0.9,1.35,-0.75), (1.15,-0.75,1.35,-0.5), (1.05,-0.5,1.45,-0.1), (-0.25,4.85,0.15,5.25)])
R(nor, via, [(-0.125,-2.825,0.025,-2.675), (1.125,-2.825,1.275,-2.675), (-0.125,4.975,0.025,5.125)])
R(nor, met2, [(-0.3,-3,0.2,-2.5), (0.95,-3,1.45,-2.5), (-0.3,4.8,0.2,5.3)])
R(nor, via2, [(-0.15,-2.85,0.05,-2.65), (1.1,-2.85,1.3,-2.65), (-0.15,4.95,0.05,5.15)])
R(nor, met3, [(-0.3,-3,0.2,-2.5), (0.95,-3,1.45,-2.5), (-0.3,4.8,0.2,5.3)])
R(nor, via3, [(-0.15,-2.85,0.05,-2.65), (1.1,-2.85,1.3,-2.65), (-0.15,4.95,0.05,5.15)])
R(nor, met4_5, [(-0.55,-2.9,2.45,-2.6)])
R(nor, met4, [(-0.3,-3,0.2,-2.9), (0.95,-3,1.45,-2.9), (-0.55,-2.9,2.45,-2.6), (-0.3,-2.6,0.2,-2.5), (0.95,-2.6,1.45,-2.5), (-0.3,4.8,0.2,4.95), (-0.55,4.95,2.45,5.25), (-0.3,5.25,0.2,5.3)])
R(nor, nsdm, [(-0.325,-2.225,2.125,-0.975)])
R(nor, psdm, [(-0.325,-0.025,2.125,4.725)])
R(nor, npc, [(-0.185,-0.485,0.185,-0.115), (1.065,-0.485,1.435,-0.115)])
nor.add(gdstk.Label('GND', (0.95,-2.75), layer=71, texttype=5))
nor.add(gdstk.Label('VDD', (0.95,5.1), layer=64, texttype=5))
nor.add(gdstk.Label('Z1', (0.9,2.125), layer=67, texttype=5))
nor.add(gdstk.Label('Out', (2.075,-0.8), layer=67, texttype=5))
nor.add(gdstk.Label('A', (-0.225,-0.3), layer=67, texttype=5))
nor.add(gdstk.Label('B', (-0.225,-0.825), layer=68, texttype=5))
nor.add(gdstk.Label('vdd!', (-0.06,4.67), layer=67, texttype=5))
nor.add(gdstk.Label('gnd!', (1.18,-2.34), layer=67, texttype=5))

divider = lib.new_cell('divider')
R(divider, nwell, [(18,4.6,19.9,9.6), (27.3,4.6,27.8,9.6), (35.2,4.6,35.7,9.55), (-0.7,7.6,2.9,14.6), (36.5,9.34,37.11,9.55), (15.49,9.41,16.42,9.6), (33.7,9.55,43.1,9.6), (13.9,9.6,43.1,9.9), (13.9,9.9,19.95,12.6), (24.15,9.9,43.1,14.8), (13.95,12.6,19.95,14.8), (28.85,14.8,30.7,16.2), (33.7,14.8,43.1,16.2)])
A(divider, tap, -1.95, -2.15, 1.3, 1.3, 9, 1, 5.75, 0)
A(divider, tap, -4.7, -0.1, 1.3, 1.3, 1, 4, 0, 5.75)
A(divider, tap, 45.4, -0.1, 1.3, 1.3, 1, 4, 0, 5.75)
A(divider, tap, -2.05, 20, 1.3, 1.3, 9, 1, 5.75, 0)
R(divider, tap, [(15.2,10.2,16.95,11.95), (0.6,10.9,2.35,12.65), (37.05,11.95,38.8,13.7)])
A(divider, licon, -1.725, -1.925, 0.17, 0.17, 3, 3, 0.34, 0.34)
A(divider, licon, 4.025, -1.925, 0.17, 0.17, 3, 3, 0.34, 0.34)
A(divider, licon, 9.775, -1.925, 0.17, 0.17, 3, 3, 0.34, 0.34)
A(divider, licon, 15.525, -1.925, 0.17, 0.17, 3, 3, 0.34, 0.34)
A(divider, licon, 21.275, -1.925, 0.17, 0.17, 3, 3, 0.34, 0.34)
A(divider, licon, 27.025, -1.925, 0.17, 0.17, 3, 3, 0.34, 0.34)
A(divider, licon, 32.775, -1.925, 0.17, 0.17, 3, 3, 0.34, 0.34)
A(divider, licon, 38.525, -1.925, 0.17, 0.17, 3, 3, 0.34, 0.34)
A(divider, licon, 44.275, -1.925, 0.17, 0.17, 3, 3, 0.34, 0.34)
A(divider, licon, -4.475, 0.125, 0.17, 0.17, 3, 3, 0.34, 0.34)
A(divider, licon, 45.625, 0.125, 0.17, 0.17, 3, 3, 0.34, 0.34)
A(divider, licon, -4.475, 5.875, 0.17, 0.17, 3, 3, 0.34, 0.34)
A(divider, licon, 45.625, 5.875, 0.17, 0.17, 3, 3, 0.34, 0.34)
A(divider, licon, 15.59, 10.645, 0.17, 0.17, 3, 3, 0.34, 0.34)
A(divider, licon, 0.99, 11.345, 0.17, 0.17, 3, 3, 0.34, 0.34)
A(divider, licon, -4.475, 11.625, 0.17, 0.17, 3, 3, 0.34, 0.34)
A(divider, licon, 45.625, 11.625, 0.17, 0.17, 3, 3, 0.34, 0.34)
A(divider, licon, 37.44, 12.395, 0.17, 0.17, 3, 3, 0.34, 0.34)
A(divider, licon, -4.475, 17.375, 0.17, 0.17, 3, 3, 0.34, 0.34)
A(divider, licon, 45.625, 17.375, 0.17, 0.17, 3, 3, 0.34, 0.34)
A(divider, licon, -1.825, 20.225, 0.17, 0.17, 3, 3, 0.34, 0.34)
A(divider, licon, 3.925, 20.225, 0.17, 0.17, 3, 3, 0.34, 0.34)
A(divider, licon, 9.675, 20.225, 0.17, 0.17, 3, 3, 0.34, 0.34)
A(divider, licon, 15.425, 20.225, 0.17, 0.17, 3, 3, 0.34, 0.34)
A(divider, licon, 21.175, 20.225, 0.17, 0.17, 3, 3, 0.34, 0.34)
A(divider, licon, 26.925, 20.225, 0.17, 0.17, 3, 3, 0.34, 0.34)
A(divider, licon, 32.675, 20.225, 0.17, 0.17, 3, 3, 0.34, 0.34)
A(divider, licon, 38.425, 20.225, 0.17, 0.17, 3, 3, 0.34, 0.34)
A(divider, licon, 44.175, 20.225, 0.17, 0.17, 3, 3, 0.34, 0.34)
R(divider, li1_5, [(43.3,4.1,43.95,4.35)])
A(divider, li1, 19.9, 3.4, 0.2, 0.2, 3, 1, 7.9, 0)
R(divider, li1, [(-4.9,-2.35,46.9,-0.65), (-4.9,-0.65,-3.2,19.8), (45.2,-0.65,46.9,19.8), (27.3,4.1,27.5,4.3), (35.2,4.1,35.4,4.3), (43.3,4.1,43.95,4.35), (20.35,8.5,20.6,9.45), (16.55,9.05,16.75,9.45), (16.55,9.45,20.6,9.65), (15.39,10.42,16.69,11.71), (0.79,11.12,2.09,12.41), (37.24,12.17,38.54,13.46), (14.35,13.35,19.95,13.55), (19.75,13.55,19.95,15.85), (24.15,15.5,25.85,15.7), (25.65,15.7,25.85,16.95), (28.7,16.25,28.9,16.45), (33.7,16.25,34.2,16.45), (34,16.45,34.2,18), (30.65,16.75,30.85,16.95), (-4.9,19.8,46.9,21.5)])
A(divider, mcon, 19.915, 3.415, 0.17, 0.17, 3, 1, 7.9, 0)
A(divider, mcon, 15.58, 10.61, 0.17, 0.17, 3, 3, 0.36, 0.36)
A(divider, mcon, 0.98, 11.31, 0.17, 0.17, 3, 3, 0.36, 0.36)
A(divider, mcon, 37.43, 12.36, 0.17, 0.17, 3, 3, 0.36, 0.36)
R(divider, mcon, [(27.315,4.115,27.485,4.285), (35.215,4.115,35.385,4.285), (28.715,16.265,28.885,16.435), (30.665,16.765,30.835,16.935), (34.015,17.815,34.185,17.985)])
R(divider, met1, [(19.55,0.15,27.5,0.3), (28.4,0.15,35.45,0.3), (36.35,0.15,43.3,0.3), (19.55,0.3,19.7,2.75), (27.35,0.3,27.5,3.4), (28.4,0.3,28.55,1.1), (35.3,0.3,35.45,3.55), (36.35,0.3,36.5,1.25), (43.15,0.3,43.3,16.8), (27.65,1.1,28.55,1.25), (27.65,1.25,27.8,3.3), (35.75,1.25,36.5,1.4), (35.75,1.4,35.9,3.3), (19.55,2.75,20.05,2.9), (19.9,2.9,20.05,3.3), (19.8,3.3,20.2,3.7), (27.65,3.3,28.1,3.7), (35.6,3.3,36,3.7), (26.85,3.4,27,5.7), (27.3,3.4,27.5,3.55), (34.75,3.4,34.9,13.2), (27.2,4,27.6,4.4), (35.1,4,35.5,4.4), (27.3,5.6,27.7,5.7), (26.85,5.7,27.7,5.85), (27.3,5.85,27.7,6), (15.39,10.42,16.69,11.71), (0.79,11.12,2.09,12.41), (37.24,12.17,38.54,13.46), (29.7,13.2,34.9,13.3), (29.65,13.3,34.9,13.35), (29.65,13.35,30.1,13.45), (29.7,13.45,30.1,13.6), (24.15,15.1,30.85,15.25), (30.7,15.25,30.85,16.65), (28.6,16.15,29,16.55), (30.55,16.65,30.95,17.05), (29.7,16.75,30.1,16.8), (28.85,16.8,30.1,16.95), (33.7,16.8,43.3,16.95), (29.7,16.95,30.1,17.15), (33.9,17.7,34.3,18.1)])
A(divider, via, 15.63, 10.66, 0.15, 0.15, 3, 3, 0.32, 0.32)
A(divider, via, 1.03, 11.36, 0.15, 0.15, 3, 3, 0.32, 0.32)
A(divider, via, 37.48, 12.41, 0.15, 0.15, 3, 3, 0.32, 0.32)
R(divider, via, [(27.325,4.125,27.475,4.275), (35.225,4.125,35.375,4.275), (27.425,5.725,27.575,5.875), (29.825,13.325,29.975,13.475), (28.725,16.275,28.875,16.425), (29.825,16.875,29.975,17.025), (34.025,17.825,34.175,17.975)])
R(divider, met2_5, [(-1.85,4.3,-1.55,4.5), (-1.85,17.9,2.25,18.05)])
R(divider, met2, [(19.55,3.4,19.7,4.3), (27.15,3.95,27.65,4.3), (35.05,3.95,35.55,4.3), (-1.85,4.3,-1.55,4.5), (19.55,4.3,19.9,4.5), (27.15,4.3,27.8,4.45), (35.05,4.3,35.7,4.45), (27.35,4.45,27.8,4.5), (35.2,4.45,35.7,4.5), (27.25,5.55,27.75,6.05), (27.45,6.05,27.6,9.8), (27.45,9.8,29.15,9.95), (29,9.95,29.15,16.1), (15.39,10.42,16.69,11.71), (0.79,11.12,2.09,12.41), (37.24,12.17,38.54,13.46), (29.65,13.15,30.15,13.65), (29.85,13.65,30,16.7), (28.55,16.1,29.15,16.45), (28.55,16.45,29.05,16.6), (29.65,16.7,30.15,17.2), (33.85,17.65,34.35,17.9), (-1.85,17.9,34.35,18.05), (33.85,18.05,34.35,18.2)])
R(divider, via2, [(15.725,10.755,15.925,10.955), (16.125,10.755,16.325,10.955), (15.725,11.155,15.925,11.355), (16.125,11.155,16.325,11.355), (1.125,11.455,1.325,11.655), (1.525,11.455,1.725,11.655), (1.125,11.855,1.325,12.055), (1.525,11.855,1.725,12.055), (37.575,12.505,37.775,12.705), (37.975,12.505,38.175,12.705), (37.575,12.905,37.775,13.105), (37.975,12.905,38.175,13.105)])
R(divider, met3, [(15.39,10.42,16.69,11.71), (0.79,11.12,2.09,12.41), (37.24,12.17,38.54,13.46)])
R(divider, via3, [(15.725,10.755,15.925,10.955), (16.125,10.755,16.325,10.955), (15.725,11.155,15.925,11.355), (16.125,11.155,16.325,11.355), (1.125,11.455,1.325,11.655), (1.525,11.455,1.725,11.655), (1.125,11.855,1.325,12.055), (1.525,11.855,1.725,12.055), (37.575,12.505,37.775,12.705), (37.975,12.505,38.175,12.705), (37.575,12.905,37.775,13.105), (37.975,12.905,38.175,13.105)])
R(divider, met4_5, [(19.15,0.15,20.05,0.45), (27.15,0.15,28.1,0.45), (27.25,9.3,28.15,9.6), (19.95,9.65,24.15,9.95), (23.5,10.8,25.85,11.1), (28.85,10.8,30.7,11.1), (18.85,15.6,19.15,18.85), (19.15,18.5,20.35,18.85)])
R(divider, met4, [(19.15,0.15,20.05,0.45), (27.15,0.15,28.1,0.45), (35.1,0.15,36,0.45), (27.25,9.3,28.15,9.6), (35.15,9.3,36.05,9.6), (36.5,9.34,37.11,10.65), (15.49,9.41,16.42,9.75), (19.95,9.6,24.15,9.95), (2.16,9.64,2.73,10.96), (15.49,9.75,17.1,10.25), (15.38,10.25,17.1,10.5), (15.38,10.5,17.05,10.91), (36.45,10.65,39.4,14.2), (23.5,10.8,27.85,11.1), (28.85,10.8,30.7,11.1), (15.39,10.91,17.05,11.71), (0.78,10.95,1.71,10.96), (0.78,10.96,2.79,11.61), (0.79,11.61,2.79,12.41), (15.89,11.71,17.05,12.08), (1.29,12.41,2.79,12.78), (18.85,15.3,19.15,18.5), (18.85,18.5,20.4,18.85), (23.45,18.65,25.9,18.95), (28.85,18.65,30.7,18.95)])
R(divider, nsdm, [(15.075,10.075,17.075,12.075), (0.475,10.775,2.475,12.775), (36.925,11.825,38.925,13.825)])
A(divider, psdm, -2.075, -2.275, 1.55, 1.55, 9, 1, 5.75, 0)
A(divider, psdm, -4.825, -0.225, 1.55, 1.55, 1, 4, 0, 5.75)
A(divider, psdm, 45.275, -0.225, 1.55, 1.55, 1, 4, 0, 5.75)
A(divider, psdm, -2.175, 19.875, 1.55, 1.55, 9, 1, 5.75, 0)
divider.add(gdstk.Reference(tspc, (36.4,4.95)))
divider.add(gdstk.Reference(tspc, (28.5,4.95)))
divider.add(gdstk.Reference(tspc, (20.6,4.95)))
divider.add(gdstk.Reference(prescaler, (0.25,2)))
divider.add(gdstk.Reference(and_, (23.3,14.65), rotation=pi))
divider.add(gdstk.Reference(nor, (28.3,16.05), rotation=pi))
divider.add(gdstk.Reference(nor, (33.15,16.05), rotation=pi))
divider.add(gdstk.Label('gnd', (19.6,0.3), layer=71, texttype=5))
divider.add(gdstk.Label('gnd', (27.625,0.3), layer=71, texttype=5))
divider.add(gdstk.Label('vdd', (27.7,9.45), layer=71, texttype=5))
divider.add(gdstk.Label('vdd', (22.05,9.8), layer=71, texttype=5))
divider.add(gdstk.Label('vdd', (24.675,10.95), layer=71, texttype=5))
divider.add(gdstk.Label('vdd', (29.775,10.95), layer=71, texttype=5))
divider.add(gdstk.Label('gnd', (19,17.225), layer=71, texttype=5))
divider.add(gdstk.Label('gnd', (19.75,18.675), layer=71, texttype=5))
divider.add(gdstk.Label('Out', (43.625,4.225), layer=67, texttype=5))
divider.add(gdstk.Label('clk', (-1.7,4.4), layer=69, texttype=5))
divider.add(gdstk.Label('mc2', (0.2,17.975), layer=69, texttype=5))

lib.write_gds('divider.gds')
